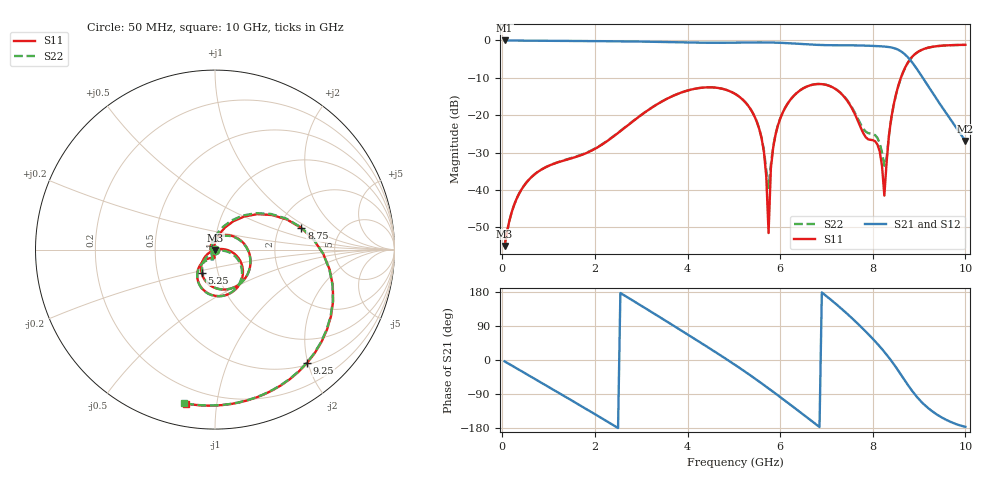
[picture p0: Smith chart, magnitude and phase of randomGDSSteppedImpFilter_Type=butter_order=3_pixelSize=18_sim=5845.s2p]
! freq	dB(S11)	phase(S11)	dB(S12)	phase(S12)
!  dB(S21)	phase(S21)	dB(S22)	phase(S22)
!S-par simulation data
#  GHz  S  DB  R 50
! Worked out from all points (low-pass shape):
!   200 points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, 50 MHz to 10 GHz, reference 50 ohm
!   highest |S21| = -0.01 dB at 50 MHz (marker M1); lowest = -26.9 dB at 10 GHz (marker M2)
!   |S21| within 3 dB of the highest: start of sweep to 8.62 GHz
!   lowest |S11| = -55.0 dB at 50 MHz (marker M3), VSWR 1.00, Z = 50.1 - j0.158 ohm
!   |S11| at or under -10 dB: start of sweep to 8.607 GHz
!   |S22| runs from -55.1 to -1.2 dB; largest |S21 - S12| = 0
!   S11 on the Smith chart (normalised r, x): 50 MHz: 1.00, -0.00; 5.25 GHz: 0.83, -0.22; 8.75 GHz: 2.66, +0.85; 9.25 GHz: 0.53, -1.98; 10 GHz: 0.11, -0.82
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0.05  -54.98 -62.3  -0.01 -3.6  -0.01 -3.6  -55.06 -61.2
0.55  -37.61 -127.0  -0.06 -39.1  -0.06 -39.1  -37.60 -128.8
1.75  -30.48 145.1  -0.16 -124.8  -0.16 -124.8  -30.39 138.6
2.55  -24.27 86.5  -0.24 176.8  -0.24 176.8  -24.22 81.7
3.4  -16.67 22.9  -0.39 113.2  -0.39 113.2  -16.66 21.1
4.1  -13.09 -30.1  -0.57 59.8  -0.57 59.8  -13.08 -30.5
5.05  -14.48 -104.0  -0.59 -14.8  -0.59 -14.8  -14.47 -102.5
5.25  -16.58 -120.3  -0.56 -31.4  -0.56 -31.4  -16.56 -117.9
5.6  -26.25 -149.0  -0.52 -61.6  -0.52 -61.6  -26.06 -139.3
5.7  -36.34 -154.2  -0.53 -70.5  -0.53 -70.5  -34.72 -125.3
5.75  -51.55 -31.4  -0.54 -75.0  -0.54 -75.0  -39.46 -63.7
5.8  -34.18 8.1  -0.55 -79.5  -0.55 -79.5  -33.15 -16.3
5.95  -22.83 -2.4  -0.61 -93.1  -0.61 -93.1  -22.75 -9.8
6.7  -11.85 -68.0  -1.13 -162.7  -1.13 -162.7  -11.84 -69.4
7.15  -12.66 -106.4  -1.29 153.4  -1.29 153.4  -12.63 -106.7
7.65  -20.71 -134.7  -1.32 98.9  -1.32 98.9  -20.24 -132.1
8.1  -27.84 -94.0  -1.52 42.7  -1.52 42.7  -26.07 -104.5
8.25  -41.52 -173.5  -1.64 21.4  -1.64 21.4  -33.52 -165.8
8.35  -25.31 84.0  -1.78 6.1  -1.78 6.1  -25.47 98.1
8.75  -6.09 14.0  -4.40 -64.4  -4.40 -64.4  -6.13 14.8
9.25  -1.79 -51.1  -13.25 -132.2  -13.25 -132.2  -1.80 -51.4
10  -1.18 -100.7  -26.91 -176.3  -26.91 -176.3  -1.18 -101.3
